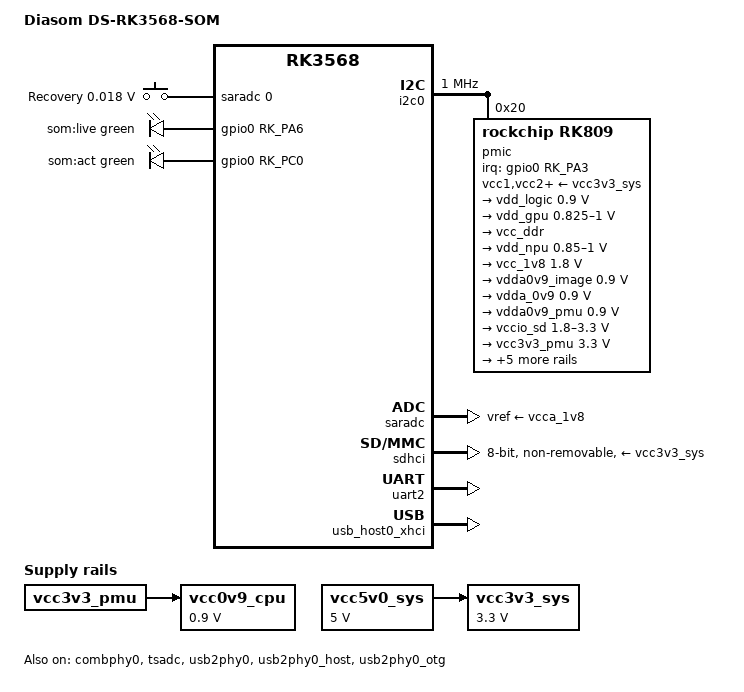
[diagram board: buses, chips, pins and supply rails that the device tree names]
/* SPDX-License-Identifier: GPL-2.0+ */
/* SPDX-FileCopyrightText: Alexander Shiyan <shc_work@mail.ru> */

/dts-v1/;

#include <arm64/rockchip/rk3568.dtsi>
#include <dt-bindings/gpio/gpio.h>
#include <dt-bindings/input/input.h>
#include <dt-bindings/leds/common.h>

#include "rk356x.dtsi"

/ {
	model = "Diasom DS-RK3568-SOM";
	compatible = "diasom,ds-rk3568-som", "rockchip,rk3568";
	chassis-type = "embedded";

	aliases {
		mmc1 = &sdhci;
	};

	chosen: chosen {
		stdout-path = "serial2:1500000n8";

		environment-emmc {
			compatible = "barebox,environment";
			device-path = &sdhci, "partname:env";
			status = "disabled";
		};
	};

	adc-keys {
		compatible = "adc-keys";
		io-channels = <&saradc 0>;
		io-channel-names = "buttons";
		keyup-threshold-microvolt = <1300000>;
		poll-interval = <100>;

		button-recovery {
			label = "Recovery";
			linux,code = <KEY_VENDOR>;
			press-threshold-microvolt = <18000>;
		};
	};

	can1: can@fe580000 {
		compatible = "rockchip,rk3568-can-2.0";
		reg = <0x0 0xfe580000 0x0 0x1000>;
		interrupts = <GIC_SPI 2 IRQ_TYPE_LEVEL_HIGH>;
		clocks = <&cru CLK_CAN1>, <&cru PCLK_CAN1>;
		clock-names = "baudclk", "apb_pclk";
		resets = <&cru SRST_CAN1>, <&cru SRST_P_CAN1>;
		reset-names = "can", "can-apb";
		tx-fifo-depth = <1>;
		rx-fifo-depth = <6>;
		status = "disabled";
	};

	can2: can@fe590000 {
		compatible = "rockchip,rk3568-can-2.0";
		reg = <0x0 0xfe590000 0x0 0x1000>;
		interrupts = <GIC_SPI 3 IRQ_TYPE_LEVEL_HIGH>;
		clocks = <&cru CLK_CAN2>, <&cru PCLK_CAN2>;
		clock-names = "baudclk", "apb_pclk";
		resets = <&cru SRST_CAN2>, <&cru SRST_P_CAN2>;
		reset-names = "can", "can-apb";
		tx-fifo-depth = <1>;
		rx-fifo-depth = <6>;
		status = "disabled";
	};

	csi2_dphy0: csi2-dphy0 {
		compatible = "rockchip,rk3568-csi2-dphy";
		rockchip,hw = <&csi2_dphy_hw>;
		status = "disabled";
	};

	csi2_dphy_hw: csi2-dphy-hw@fe870000 {
		compatible = "rockchip,rk3568-csi2-dphy-hw";
		reg = <0x0 0xfe870000 0x0 0x1000>;
		clocks = <&cru PCLK_MIPICSIPHY>;
		clock-names = "pclk";
		rockchip,grf = <&grf>;
		status = "disabled";
	};

	isp: rkisp@fdff0000 {
		compatible = "rockchip,rk3568-rkisp";
		reg = <0x0 0xfdff0000 0x0 0x10000>;
		interrupts = <GIC_SPI 57 IRQ_TYPE_LEVEL_HIGH>,
		<GIC_SPI 58 IRQ_TYPE_LEVEL_HIGH>,
		<GIC_SPI 60 IRQ_TYPE_LEVEL_HIGH>;
		interrupt-names = "mipi_irq", "mi_irq", "isp_irq";
		clocks = <&cru ACLK_ISP>, <&cru HCLK_ISP>, <&cru CLK_ISP>;
		clock-names = "aclk_isp", "hclk_isp", "clk_isp";
		resets = <&cru SRST_ISP>, <&cru SRST_H_ISP>;
		reset-names = "isp", "isp-h";
		rockchip,grf = <&grf>;
		power-domains = <&power RK3568_PD_VI>;
		iommus = <&isp_mmu>;
		rockchip,iq-feature = /bits/ 64 <0x1BFBFFFE67FF>;
		status = "disabled";
	};

	isp_mmu: iommu@fdff1a00 {
		compatible = "rockchip,rk3568-iommu";
		reg = <0x0 0xfdff1a00 0x0 0x100>;
		interrupts = <GIC_SPI 59 IRQ_TYPE_LEVEL_HIGH>;
		clocks = <&cru ACLK_ISP>, <&cru HCLK_ISP>;
		clock-names = "aclk", "iface";
		power-domains = <&power RK3568_PD_VI>;
		rockchip,disable-mmu-reset;
		#iommu-cells = <0>;
		status = "disabled";
	};

	isp_vir0: rkisp-vir0 {
		compatible = "rockchip,rkisp-vir";
		rockchip,hw = <&isp>;
		status = "disabled";
	};

	leds {
		compatible = "gpio-leds";
		pinctrl-names = "default";
		pinctrl-0 = <&leds_pins>;

		led-live {
			label = "som:live";
			gpios = <&gpio0 RK_PA6 GPIO_ACTIVE_HIGH>;
			function = LED_FUNCTION_HEARTBEAT;
			color = <LED_COLOR_ID_GREEN>;
			linux,default-trigger = LED_FUNCTION_HEARTBEAT;
			default-state = "off";
			panic-indicator;
		};

		led-act {
			label = "som:act";
			gpios = <&gpio0 RK_PC0 GPIO_ACTIVE_HIGH>;
			function = LED_FUNCTION_ACTIVITY;
			color = <LED_COLOR_ID_GREEN>;
			linux,default-trigger = LED_FUNCTION_ACTIVITY;
			default-state = "off";
		};
	};

	vcc0v9_cpu: vcc0v9-cpu-regulator {
		compatible = "regulator-fixed";
		regulator-name = "0v9_cpu";
		regulator-always-on;
		regulator-boot-on;
		regulator-min-microvolt = <900000>;
		regulator-max-microvolt = <900000>;
		vin-supply = <&vcc3v3_pmu>;
	};

	vcc3v3_sys: vcc3v3-sys-regulator {
		compatible = "regulator-fixed";
		regulator-name = "3v3_sys";
		regulator-always-on;
		regulator-boot-on;
		regulator-min-microvolt = <3300000>;
		regulator-max-microvolt = <3300000>;
		vin-supply = <&vcc5v0_sys>;
	};
	
	vcc5v0_sys: vcc5v0-sys-regulator {
		compatible = "regulator-fixed";
		regulator-name = "5v0_sys";
		regulator-always-on;
		regulator-boot-on;
		regulator-min-microvolt = <5000000>;
		regulator-max-microvolt = <5000000>;
	};
};

/delete-node/ &xin32k;

&combphy0 {
	/* USB3.0 OTG0 */
	status = "okay";
};

&cpu0 {
	cpu-supply = <&vcc0v9_cpu>;
};

&cpu1 {
	cpu-supply = <&vcc0v9_cpu>;
};

&cpu2 {
	cpu-supply = <&vcc0v9_cpu>;
};

&cpu3 {
	cpu-supply = <&vcc0v9_cpu>;
};

&cpu0_opp_table {
	/delete-node/ opp-1608000000;
	/delete-node/ opp-1800000000;
	/delete-node/ opp-1992000000;

	opp-1008000000 {
		opp-hz = /bits/ 64 <1008000000>;
		opp-microvolt = <900000 900000 1150000>;
	};
};

&display_subsystem {
	status = "disabled";
};

&gpu {
	mali-supply = <&vdd_gpu>;
};

&hdmi {
	avdd-0v9-supply = <&vdda0v9_image>;
	avdd-1v8-supply = <&vcca1v8_image>;
};

&i2c0 {
	clock-frequency = <1000000>;
	status = "okay";

	pmic@20 {
		pinctrl-names = "default";
		pinctrl-0 = <&pmic_pins &pmic_int_pins &clk32k_in>;
		compatible = "rockchip,rk809";
		reg = <0x20>;
		interrupt-parent = <&gpio0>;
		interrupts = <RK_PA3 IRQ_TYPE_LEVEL_LOW>;
		system-power-controller;
		vcc1-supply = <&vcc3v3_sys>;
		vcc2-supply = <&vcc3v3_sys>;
		vcc3-supply = <&vcc3v3_sys>;
		vcc4-supply = <&vcc3v3_sys>;
		vcc5-supply = <&vcc3v3_sys>;
		vcc6-supply = <&vcc3v3_sys>;
		vcc7-supply = <&vcc3v3_sys>;
		vcc8-supply = <&vcc3v3_sys>;
		vcc9-supply = <&vcc3v3_sys>;
		clock-output-names = "xin32k";
		wakeup-source;
		#clock-cells = <1>;

		regulators {
			vdd_logic: DCDC_REG1 {
				regulator-name = "vdd_logic";
				regulator-always-on;
				regulator-boot-on;
				regulator-initial-mode = <0x2>;
				regulator-min-microvolt = <900000>;
				regulator-max-microvolt = <900000>;
				regulator-ramp-delay = <6001>;

				regulator-state-mem {
					regulator-off-in-suspend;
				};
			};

			vdd_gpu: DCDC_REG2 {
				regulator-name = "vdd_gpu";
				regulator-initial-mode = <0x2>;
				regulator-min-microvolt = <825000>;
				regulator-max-microvolt = <1000000>;			
				regulator-ramp-delay = <6001>;

				regulator-state-mem {
					regulator-off-in-suspend;
				};
			};

			vcc_ddr: DCDC_REG3 {
				regulator-name = "vcc_ddr";
				regulator-always-on;
				regulator-boot-on;
				regulator-initial-mode = <0x2>;

				regulator-state-mem {
					regulator-on-in-suspend;
				};
			};

			vdd_npu: DCDC_REG4 {
				regulator-name = "vdd_npu";
				regulator-initial-mode = <0x2>;
				regulator-min-microvolt = <850000>;
				regulator-max-microvolt = <1000000>;
				regulator-ramp-delay = <6001>;

				regulator-state-mem {
					regulator-off-in-suspend;
				};
			};

			vcc_1v8: DCDC_REG5 {
				regulator-name = "vcc_1v8";
				regulator-always-on;
				regulator-boot-on;
				regulator-min-microvolt = <1800000>;
				regulator-max-microvolt = <1800000>;

				regulator-state-mem {
					regulator-off-in-suspend;
				};
			};

			vdda0v9_image: LDO_REG1 {
				regulator-name = "vdda0v9_image";
				regulator-min-microvolt = <900000>;
				regulator-max-microvolt = <900000>;

				regulator-state-mem {
					regulator-off-in-suspend;
				};
			};

			vdda_0v9: LDO_REG2 {
				regulator-name = "vdda_0v9";
				regulator-always-on;
				regulator-boot-on;
				regulator-min-microvolt = <900000>;
				regulator-max-microvolt = <900000>;

				regulator-state-mem {
					regulator-off-in-suspend;
				};
			};

			vdda0v9_pmu: LDO_REG3 {
				regulator-name = "vdda0v9_pmu";
				regulator-always-on;
				regulator-boot-on;
				regulator-min-microvolt = <900000>;
				regulator-max-microvolt = <900000>;

				regulator-state-mem {
					regulator-on-in-suspend;
					regulator-suspend-microvolt = <900000>;
				};
			};

			vccio_sd: LDO_REG5 {
				regulator-name = "vccio_sd";
				regulator-boot-on;
				regulator-min-microvolt = <1800000>;
				regulator-max-microvolt = <3300000>;

				regulator-state-mem {
					regulator-off-in-suspend;
				};
			};

			vcc3v3_pmu: LDO_REG6 {
				regulator-name = "vcc3v3_pmu";
				regulator-always-on;
				regulator-boot-on;
				regulator-min-microvolt = <3300000>;
				regulator-max-microvolt = <3300000>;

				regulator-state-mem {
					regulator-on-in-suspend;
					regulator-suspend-microvolt = <3300000>;
				};
			};

			vcca_1v8: LDO_REG7 {
				regulator-name = "vcca_1v8";
				regulator-always-on;
				regulator-boot-on;
				regulator-min-microvolt = <1800000>;
				regulator-max-microvolt = <1800000>;

				regulator-state-mem {
					regulator-off-in-suspend;
				};
			};

			vcca1v8_pmu: LDO_REG8 {
				regulator-name = "vcca1v8_pmu";
				regulator-always-on;
				regulator-boot-on;
				regulator-min-microvolt = <1800000>;
				regulator-max-microvolt = <1800000>;

				regulator-state-mem {
					regulator-on-in-suspend;
					regulator-suspend-microvolt = <1800000>;
				};
			};

			vcca1v8_image: LDO_REG9 {
				regulator-name = "vcca1v8_image";
				regulator-min-microvolt = <1800000>;
				regulator-max-microvolt = <1800000>;

				regulator-state-mem {
					regulator-off-in-suspend;
				};
			};

			vcc_3v3_sw1: SWITCH_REG1 {
				regulator-name = "vcc_3v3_sw1";
				regulator-always-on;
				regulator-boot-on;
				regulator-coupled-with = <&vcc_3v3_sw2>;
				regulator-coupled-max-spread = <10000>;

				regulator-state-mem {
					regulator-off-in-suspend;
				};
			};

			vcc_3v3_sw2: SWITCH_REG2 {
				regulator-name = "vcc_3v3_sw2";
				regulator-always-on;
				regulator-boot-on;
				regulator-coupled-with = <&vcc_3v3_sw1>;
				regulator-coupled-max-spread = <10000>;

				regulator-state-mem {
					regulator-off-in-suspend;
				};
			};
		};
	};
};

&pmu_io_domains {
	pmuio1-supply = <&vcc3v3_pmu>;
	pmuio2-supply = <&vcc3v3_pmu>;
	vccio1-supply = <&vcc_1v8>;
	vccio2-supply = <&vcc_1v8>;
	vccio3-supply = <&vccio_sd>;
	vccio4-supply = <&vcc_1v8>;
	vccio5-supply = <&vcc_1v8>;
	vccio6-supply = <&vcc_1v8>;
	vccio7-supply = <&vcc_3v3_sw1>;
	status = "okay";
};

&rga {
	status = "disabled";
};

&saradc {
	vref-supply = <&vcca_1v8>;
	status = "okay";
};

&sdhci {
	pinctrl-names = "default";
	pinctrl-0 = <&emmc_bus8 &emmc_clk &emmc_cmd &emmc_datastrobe &emmc_rstnout>;
	bus-width = <8>;
	cap-mmc-hw-reset;
	max-frequency = <200000000>;
	non-removable;
	no-mmc-hs400;
	no-sd;
	no-sdio;
	vmmc-supply = <&vcc3v3_sys>;
	vqmmc-supply = <&vcc_1v8>;
	status = "okay";
};

&tsadc {
	rockchip,hw-tshut-temp = <95000>;
	rockchip,hw-tshut-mode = <0>;
	rockchip,hw-tshut-polarity = <0>;
	status = "okay";
};

&uart2 {
	status = "okay";
};

&usb_host0_xhci {
	hnp-disable;
	srp-disable;
	status = "okay";
};

&usb2phy0 {
	status = "okay";
};

&usb2phy0_host {
	status = "okay";
};

&usb2phy0_otg {
	status = "okay";
};

&vpu {
	status = "disabled";
};

&vdpu_mmu {
	status = "disabled";
};

&vepu {
	status = "disabled";
};

&vepu_mmu {
	status = "disabled";
};

&pinctrl {
	leds {
		leds_pins: leds-pins {
			rockchip,pins =
				<0 RK_PA6 RK_FUNC_GPIO &pcfg_pull_none>,	/* LED1 */
				<0 RK_PC0 RK_FUNC_GPIO &pcfg_pull_none>;	/* LED2 */
		};
	};

	pmic {
		pmic_int_pins: pmic-int-pins {
			rockchip,pins =
				<0 RK_PA3 RK_FUNC_GPIO &pcfg_pull_up>;		/* PMIC_IRQ# */
		};
	};
};
